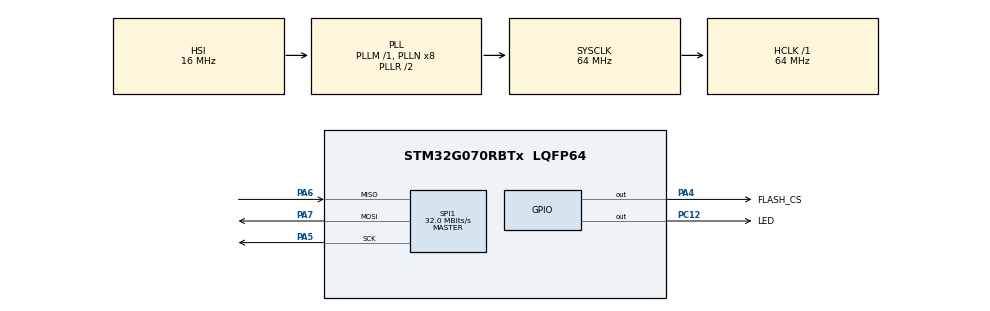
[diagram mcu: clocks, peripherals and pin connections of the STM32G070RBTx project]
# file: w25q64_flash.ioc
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Mcu.Family=STM32G0
Mcu.Name=STM32G070RBTx
Mcu.Package=LQFP64
PA13.Mode=Serial_Wire
PA13.Signal=SYS_SWDIO
PA14-BOOT0.Mode=Serial_Wire
PA14-BOOT0.Signal=SYS_SWCLK
PA4.GPIO_Label=FLASH_CS
PA4.GPIO_PuPd=GPIO_PULLUP
PA4.PinState=GPIO_PIN_SET
PA4.Signal=GPIO_Output
PA5.GPIO_Speed=GPIO_SPEED_FREQ_HIGH
PA5.Mode=Full_Duplex_Master
PA5.Signal=SPI1_SCK
PA6.GPIO_Speed=GPIO_SPEED_FREQ_HIGH
PA6.Mode=Full_Duplex_Master
PA6.Signal=SPI1_MISO
PA7.GPIO_Speed=GPIO_SPEED_FREQ_HIGH
PA7.Mode=Full_Duplex_Master
PA7.Signal=SPI1_MOSI
PC12.GPIO_Label=LED
PC12.Signal=GPIO_Output
ProjectManager.HeapSize=0x200
ProjectManager.StackSize=0x400
ProjectManager.TargetToolchain=CMake
RCC.ADCFreq_Value=64000000
RCC.AHBFreq_Value=64000000
RCC.CortexFreq_Value=64000000
RCC.EXTERNAL_CLOCK_VALUE=48000
RCC.HCLKFreq_Value=64000000
RCC.HSE_VALUE=8000000
RCC.HSI_VALUE=16000000
RCC.LSE_VALUE=32768
RCC.SYSCLKFreq_VALUE=64000000
RCC.SYSCLKSource=RCC_SYSCLKSOURCE_PLLCLK
RCC.VCOOutputFreq_Value=128000000
SPI1.BaudRatePrescaler=SPI_BAUDRATEPRESCALER_2
SPI1.CalculateBaudRate=32.0 MBits/s
SPI1.DataSize=SPI_DATASIZE_8BIT
SPI1.Direction=SPI_DIRECTION_2LINES
SPI1.Mode=SPI_MODE_MASTER
SPI1.VirtualType=VM_MASTER
board=custom

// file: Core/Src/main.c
/* USER CODE BEGIN Header */
/**
 ******************************************************************************
 * @file           : main.c
 * @brief          : Main program body
 ******************************************************************************
 * @attention
 *
 * Copyright (c) 2025 STMicroelectronics.
 * All rights reserved.
 *
 * This software is licensed under terms that can be found in the LICENSE file
 * in the root directory of this software component.
 * If no LICENSE file comes with this software, it is provided AS-IS.
 *
 ******************************************************************************
 */
/* USER CODE END Header */
#include "main.h"
#include "spi.h"
#include "gpio.h"

/* USER CODE BEGIN Includes */
#include "log.h"
#include "mrand.h"
#include <string.h>

/* USER CODE END Includes */

void SystemClock_Config(void);

/* USER CODE BEGIN 0 */
#define CS_LOW() HAL_GPIO_WritePin(FLASH_CS_GPIO_Port, FLASH_CS_Pin, GPIO_PIN_RESET)
#define CS_HIGH() HAL_GPIO_WritePin(FLASH_CS_GPIO_Port, FLASH_CS_Pin, GPIO_PIN_SET)

static void spi_txrx(uint8_t *tx, uint8_t *rx, uint16_t len)
{
    HAL_SPI_TransmitReceive(&hspi1, tx, rx, len, HAL_MAX_DELAY);
}

/* ---------- 指令 ---------- */
const uint8_t CMD_WREN = 0x06;
const uint8_t CMD_SE = 0x20;
const uint8_t CMD_PP = 0x02;
const uint8_t CMD_READ = 0x03;

void w25_wait_busy(void)
{
    uint8_t tx[2] = {0x05, 0xFF};
    uint8_t rx[2];
    do
    {
        CS_LOW();
        spi_txrx(tx, rx, 2);
        CS_HIGH();
    } while (rx[1] & 0x01);
}

void w25_write_enable(void)
{
    uint8_t tx = CMD_WREN;
    CS_LOW();
    HAL_SPI_Transmit(&hspi1, &tx, 1, 1000);
    CS_HIGH();
}

/* USER CODE END 0 */

int main(void)
{

    /* MCU Configuration--------------------------------------------------------*/

    /* Reset of all peripherals, Initializes the Flash interface and the Systick. */
    HAL_Init();

    /* Configure the system clock */
    SystemClock_Config();

    /* Initialize all configured peripherals */
    MX_GPIO_Init();
    MX_SPI1_Init();
    /* USER CODE BEGIN 2 */

    log_init(LOG_TRACE, false);

    log_info("W25Q64 Flash Test");
    CS_HIGH();

    /* 1. 读 ID */
    log_info("Read Flash ID...");
    uint8_t tx[4] = {0x9F, 0xFF, 0xFF, 0xFF};
    uint8_t rx[4] = {0};
    CS_LOW();
    spi_txrx(tx, rx, 4);
    CS_HIGH();
    uint32_t id = (rx[1] << 16) | (rx[2] << 8) | rx[3]; // 应=0xEF4017
    log_debug("Flash ID: %08X", id);

    /* 2. 擦除首扇区 */
    log_info("Erase Flash...");
    w25_write_enable();
    uint8_t erase[4] = {CMD_SE, 0x00, 0x00, 0x00};
    CS_LOW();
    HAL_SPI_Transmit(&hspi1, erase, 4, 1000);
    CS_HIGH();
    w25_wait_busy();

    /* 3. 写 4 字节 */
    log_info("Write Flash...");
    w25_write_enable();
    uint8_t write[8] = {CMD_PP, 0x00, 0x00, 0x00, 0xAA, 0xBB, 0xCC, 0xDD};
    CS_LOW();
    HAL_SPI_Transmit(&hspi1, write, 8, 1000);
    CS_HIGH();
    w25_wait_busy();

    /* 4. 读回 4 字节 */
    log_info("Read Flash...");
    uint8_t read[8] = {CMD_READ, 0x00, 0x00, 0x00, 0xFF, 0xFF, 0xFF, 0xFF};
    CS_LOW();
    HAL_SPI_TransmitReceive(&hspi1, read, read, 8, 1000);
    CS_HIGH();
    log_info("Read Data: %02X %02X %02X %02X", read[4], read[5], read[6], read[7]);

    /* USER CODE END 2 */

    /* Infinite loop */
    while (1)
    {

        /* USER CODE BEGIN 3 */
        HAL_GPIO_WritePin(LED_GPIO_Port, LED_Pin, GPIO_PIN_RESET);
        HAL_Delay(300);
        HAL_GPIO_WritePin(LED_GPIO_Port, LED_Pin, GPIO_PIN_SET);
        HAL_Delay(300);
    }
    /* USER CODE END 3 */
}

void SystemClock_Config(void)
{
    RCC_OscInitTypeDef RCC_OscInitStruct = {0};
    RCC_ClkInitTypeDef RCC_ClkInitStruct = {0};

    /** Configure the main internal regulator output voltage
     */
    HAL_PWREx_ControlVoltageScaling(PWR_REGULATOR_VOLTAGE_SCALE1);

    /** Initializes the RCC Oscillators according to the specified parameters
     * in the RCC_OscInitTypeDef structure.
     */
    RCC_OscInitStruct.OscillatorType = RCC_OSCILLATORTYPE_HSI;
    RCC_OscInitStruct.HSIState = RCC_HSI_ON;
    RCC_OscInitStruct.HSIDiv = RCC_HSI_DIV1;
    RCC_OscInitStruct.HSICalibrationValue = RCC_HSICALIBRATION_DEFAULT;
    RCC_OscInitStruct.PLL.PLLState = RCC_PLL_ON;
    RCC_OscInitStruct.PLL.PLLSource = RCC_PLLSOURCE_HSI;
    RCC_OscInitStruct.PLL.PLLM = RCC_PLLM_DIV1;
    RCC_OscInitStruct.PLL.PLLN = 8;
    RCC_OscInitStruct.PLL.PLLP = RCC_PLLP_DIV2;
    RCC_OscInitStruct.PLL.PLLR = RCC_PLLR_DIV2;
    if (HAL_RCC_OscConfig(&RCC_OscInitStruct) != HAL_OK)
    {
        Error_Handler();
    }

    /** Initializes the CPU, AHB and APB buses clocks
     */
    RCC_ClkInitStruct.ClockType = RCC_CLOCKTYPE_HCLK | RCC_CLOCKTYPE_SYSCLK | RCC_CLOCKTYPE_PCLK1;
    RCC_ClkInitStruct.SYSCLKSource = RCC_SYSCLKSOURCE_PLLCLK;
    RCC_ClkInitStruct.AHBCLKDivider = RCC_SYSCLK_DIV1;
    RCC_ClkInitStruct.APB1CLKDivider = RCC_HCLK_DIV1;

    if (HAL_RCC_ClockConfig(&RCC_ClkInitStruct, FLASH_LATENCY_2) != HAL_OK)
    {
        Error_Handler();
    }
}

void Error_Handler(void)
{
    __disable_irq();
    while (1)
    {
    }
}

#ifdef USE_FULL_ASSERT
/**
 * @brief  Reports the name of the source file and the source line number
 *         where the assert_param error has occurred.
 * @param  file: pointer to the source file name
 * @param  line: assert_param error line source number
 * @retval None
 */
void assert_failed(uint8_t *file, uint32_t line)
{
    /* USER CODE BEGIN 6 */
    /* User can add his own implementation to report the file name and line
       number, ex: printf("Wrong parameters value: file %s on line %d\r\n", file,
       line) */
    /* USER CODE END 6 */
}
#endif /* USE_FULL_ASSERT */
